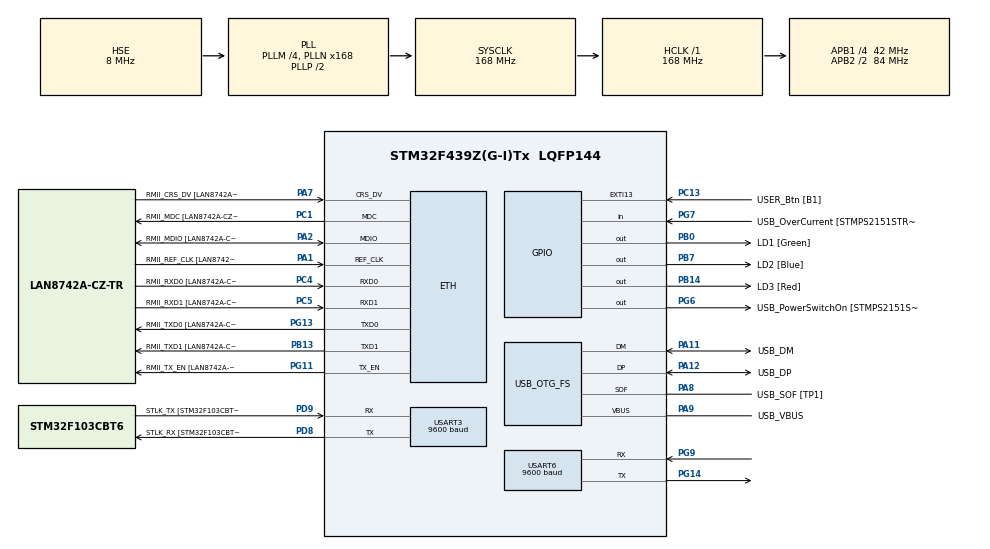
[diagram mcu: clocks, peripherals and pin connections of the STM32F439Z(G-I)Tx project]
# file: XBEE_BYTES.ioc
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ETH.MediaInterface=HAL_ETH_RMII_MODE
ETH.PHY_Name=LAN8742A_PHY_ADDRESS
ETH.PHY_Value=0
ETH.PhyAddress=0
Mcu.Family=STM32F4
Mcu.Name=STM32F439Z(G-I)Tx
Mcu.Package=LQFP144
NVIC.PriorityGroup=NVIC_PRIORITYGROUP_4
NVIC.USART3_IRQn=true\:0\:0\:false\:false\:true\:true\:true\:true
NVIC.USART6_IRQn=true\:0\:0\:false\:false\:true\:true\:true\:true
PA1.GPIO_Label=RMII_REF_CLK [LAN8742A-CZ-TR_REFCLK0]
PA1.Mode=RMII
PA1.Signal=ETH_REF_CLK
PA10.GPIO_Label=USB_ID
PA10.Signal=USB_OTG_FS_ID
PA11.GPIO_Label=USB_DM
PA11.Mode=Device_Only
PA11.Signal=USB_OTG_FS_DM
PA12.GPIO_Label=USB_DP
PA12.Mode=Device_Only
PA12.Signal=USB_OTG_FS_DP
PA13.GPIO_Label=TMS
PA13.Mode=Serial_Wire
PA13.Signal=SYS_JTMS-SWDIO
PA14.GPIO_Label=TCK
PA14.Mode=Serial_Wire
PA14.Signal=SYS_JTCK-SWCLK
PA2.GPIO_Label=RMII_MDIO [LAN8742A-CZ-TR_MDIO]
PA2.Mode=RMII
PA2.Signal=ETH_MDIO
PA7.GPIO_Label=RMII_CRS_DV [LAN8742A-CZ-TR_CRS_DV]
PA7.Mode=RMII
PA7.Signal=ETH_CRS_DV
PA8.GPIO_Label=USB_SOF [TP1]
PA8.Mode=Activate_SOF_FS
PA8.Signal=USB_OTG_FS_SOF
PA9.GPIO_Label=USB_VBUS
PA9.Mode=Activate_VBUS
PA9.Signal=USB_OTG_FS_VBUS
PB0.GPIO_Label=LD1 [Green]
PB0.Signal=GPIO_Output
PB13.GPIO_Label=RMII_TXD1 [LAN8742A-CZ-TR_TXD1]
PB13.Mode=RMII
PB13.Signal=ETH_TXD1
PB14.GPIO_Label=LD3 [Red]
PB14.Signal=GPIO_Output
PB7.GPIO_Label=LD2 [Blue]
PB7.Signal=GPIO_Output
PC1.GPIO_Label=RMII_MDC [LAN8742A-CZ-TR_MDC]
PC1.Mode=RMII
PC1.Signal=ETH_MDC
PC13.GPIO_Label=USER_Btn [B1]
PC13.Signal=GPXTI13
PC14/OSC32_IN.Mode=LSE-External-Oscillator
PC14/OSC32_IN.Signal=RCC_OSC32_IN
PC15/OSC32_OUT.Mode=LSE-External-Oscillator
PC15/OSC32_OUT.Signal=RCC_OSC32_OUT
PC4.GPIO_Label=RMII_RXD0 [LAN8742A-CZ-TR_RXD0]
PC4.Mode=RMII
PC4.Signal=ETH_RXD0
PC5.GPIO_Label=RMII_RXD1 [LAN8742A-CZ-TR_RXD1]
PC5.Mode=RMII
PC5.Signal=ETH_RXD1
PD8.GPIO_Label=STLK_RX [STM32F103CBT6_PA3]
PD8.Mode=Asynchronous
PD8.Signal=USART3_TX
PD9.GPIO_Label=STLK_TX [STM32F103CBT6_PA2]
PD9.Mode=Asynchronous
PD9.Signal=USART3_RX
PG11.GPIO_Label=RMII_TX_EN [LAN8742A-CZ-TR_TXEN]
PG11.Mode=RMII
PG11.Signal=ETH_TX_EN
PG13.GPIO_Label=RMII_TXD0 [LAN8742A-CZ-TR_TXD0]
PG13.Mode=RMII
PG13.Signal=ETH_TXD0
PG14.Mode=Asynchronous
PG14.Signal=USART6_TX
PG6.GPIO_Label=USB_PowerSwitchOn [STMPS2151STR_EN]
PG6.Signal=GPIO_Output
PG7.GPIO_Label=USB_OverCurrent [STMPS2151STR_FAULT]
PG7.Signal=GPIO_Input
PG9.Mode=Asynchronous
PG9.Signal=USART6_RX
PH0/OSC_IN.GPIO_Label=MCO [STM32F103CBT6_PA8]
PH0/OSC_IN.Mode=HSE-External-Clock-Source
PH0/OSC_IN.Signal=RCC_OSC_IN
PH1/OSC_OUT.Mode=HSE-External-Clock-Source
PH1/OSC_OUT.Signal=RCC_OSC_OUT
ProjectManager.HeapSize=0x200
ProjectManager.StackSize=0x400
ProjectManager.TargetToolchain=STM32CubeIDE
RCC.48MHZClocksFreq_Value=48000000
RCC.AHBFreq_Value=168000000
RCC.APB1CLKDivider=RCC_HCLK_DIV4
RCC.APB1Freq_Value=42000000
RCC.APB1TimFreq_Value=84000000
RCC.APB2CLKDivider=RCC_HCLK_DIV2
RCC.APB2Freq_Value=84000000
RCC.APB2TimCLKDivider=2
RCC.APB2TimFreq_Value=168000000
RCC.CortexFreq_Value=168000000
RCC.HCLKFreq_Value=168000000
RCC.HSE_VALUE=8000000
RCC.HSI_VALUE=16000000
RCC.PLLM=4
RCC.PLLMUL=RCC_PLL_MUL9
RCC.PLLN=168
RCC.PLLQ=7
RCC.PRESCALERUSB=RCC_USBCLKSOURCE_PLL_DIV1_5
RCC.RCC_RTC_Clock_Source=RCC_RTCCLKSOURCE_LSE
RCC.RCC_RTC_Clock_SourceVirtual=RCC_RTCCLKSOURCE_LSE
RCC.SYSCLKFreq_VALUE=168000000
RCC.SYSCLKSource=RCC_SYSCLKSOURCE_PLLCLK
RCC.SYSCLKSourceVirtual=RCC_SYSCLKSOURCE_PLLCLK
RCC.USBFreq_Value=48000000
RCC.VCOOutputFreq_Value=336000000
RTC.Date=4
RTC.Month=RTC_MONTH_MARCH
RTC.WeekDay=RTC_WEEKDAY_SATURDAY
RTC.Year=23
USART3.BaudRate=9600
USART3.VirtualMode=VM_ASYNC
USART6.BaudRate=9600
USART6.VirtualMode=VM_ASYNC
USB_OTG_FS.VirtualMode=Device_Only
VP_RTC_VS_RTC_Activate.Mode=RTC_Enabled
VP_RTC_VS_RTC_Calendar.Mode=RTC_Calendar
board=NUCLEO-F439ZI

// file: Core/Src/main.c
/* USER CODE BEGIN Header */
/**
  ******************************************************************************
  * @file           : main.c
  * @brief          : Main program body
  ******************************************************************************
  * @attention
  *
  * Copyright (c) 2023 STMicroelectronics.
  * All rights reserved.
  *
  * This software is licensed under terms that can be found in the LICENSE file
  * in the root directory of this software component.
  * If no LICENSE file comes with this software, it is provided AS-IS.
  *
  ******************************************************************************
  */
/* USER CODE END Header */
#include "main.h"
#include "string.h"

/* USER CODE BEGIN Includes */
#include <string.h>
#include <stdio.h>
#include <stdint.h>
#include <stdlib.h>
/* USER CODE END Includes */

ETH_TxPacketConfig TxConfig;
ETH_DMADescTypeDef  DMARxDscrTab[ETH_RX_DESC_CNT]; /* Ethernet Rx DMA Descriptors */
ETH_DMADescTypeDef  DMATxDscrTab[ETH_TX_DESC_CNT]; /* Ethernet Tx DMA Descriptors */

ETH_HandleTypeDef heth;

RTC_HandleTypeDef hrtc;

UART_HandleTypeDef huart3;
UART_HandleTypeDef huart6;

PCD_HandleTypeDef hpcd_USB_OTG_FS;

/* USER CODE BEGIN PV */

typedef enum { false, true } bool;
bool readyToSend = true;
RTC_TimeTypeDef sTime;
RTC_DateTypeDef sDate;
/* USER CODE END PV */

void SystemClock_Config(void);
static void MX_GPIO_Init(void);
static void MX_ETH_Init(void);
static void MX_USART3_UART_Init(void);
static void MX_USB_OTG_FS_PCD_Init(void);
static void MX_USART6_UART_Init(void);
static void MX_RTC_Init(void);
/* USER CODE BEGIN PFP */

static void setRTCTime(char* inputTime);
void HAL_UART_TxCpltCallback(UART_HandleTypeDef *huart);

/* USER CODE END PFP */

int main(void)
{
  /* USER CODE BEGIN 1 */
	char time[14];
	bool timeset = false;
	char currentTime[9];

  /* USER CODE END 1 */

  /* MCU Configuration--------------------------------------------------------*/

  /* Reset of all peripherals, Initializes the Flash interface and the Systick. */
  HAL_Init();

  /* Configure the system clock */
  SystemClock_Config();

  /* Initialize all configured peripherals */
  MX_GPIO_Init();
  MX_ETH_Init();
  MX_USART3_UART_Init();
  MX_USB_OTG_FS_PCD_Init();
  MX_USART6_UART_Init();
  MX_RTC_Init();
  /* USER CODE BEGIN 2 */
  /*while(!timeset){
	  if (HAL_UART_Receive(&huart3, (uint8_t *) currentTime, sizeof(currentTime), 1000) == HAL_OK){
		  if (currentTime[8]=='*'){
			  //Time Correctly recorded
			  currentTime[8]='\0';
			  setRTCTime(currentTime);
			  HAL_UART_Transmit(&huart6, (uint8_t *)"set\n", sizeof((uint8_t *)"set"), 100);
			  timeset = true;
			  break;
		  }

	  }
  }*/

  /* USER CODE END 2 */

  /* Infinite loop */
  /* USER CODE BEGIN WHILE */

  float send_data[] = {0,0,0,0,0,0};

  uint8_t start_msg[] = "START";
  if(readyToSend){
      HAL_UART_Transmit_IT(&huart6, (uint8_t*)(start_msg), 5);
      readyToSend = false;
  }
  //HAL_UART_Transmit(&huart3, (uint8_t*)(start_msg), 5, 100);

  int counter = 0;
  int timeline = 0;
  while (1)
  {
    /* USER CODE END WHILE */

    /* USER CODE BEGIN 3 */
	  for(int i = 3; i<(sizeof(send_data)/sizeof(float)); i++){
		  send_data[i] = counter+i-3;
	  }

	  HAL_RTC_GetTime(&hrtc, &sTime, RTC_FORMAT_BIN);
	  HAL_RTC_GetDate(&hrtc, &sDate, RTC_FORMAT_BIN);
	  send_data[2] = (float)(sTime.Seconds);
	  send_data[1] = (float)(sTime.Minutes);
	  send_data[0] = (float)(sTime.Hours);

	  //sprintf(time, "Time:%02d:%02d:%02d\n", sTime.Hours, sTime.Minutes, sTime.Seconds);

	  if(readyToSend){
		 HAL_UART_Transmit_IT(&huart6, (uint8_t*)(send_data), 24);
		 readyToSend = false;
	  } else {
		  HAL_GPIO_TogglePin(GPIOB, GPIO_PIN_0);
	  }
    //HAL_UART_Transmit(&huart3, (uint8_t*)(send_data), 24, 100);

	if (counter >= 100){
		counter = 0;
	}
	counter = counter+1;
	timeline = timeline+1;
	HAL_GPIO_TogglePin(GPIOB, GPIO_PIN_7);
	HAL_Delay(1000);
  }
  /* USER CODE END 3 */
}

void SystemClock_Config(void)
{
  RCC_OscInitTypeDef RCC_OscInitStruct = {0};
  RCC_ClkInitTypeDef RCC_ClkInitStruct = {0};

  /** Configure the main internal regulator output voltage
  */
  __HAL_RCC_PWR_CLK_ENABLE();
  __HAL_PWR_VOLTAGESCALING_CONFIG(PWR_REGULATOR_VOLTAGE_SCALE1);

  /** Initializes the RCC Oscillators according to the specified parameters
  * in the RCC_OscInitTypeDef structure.
  */
  RCC_OscInitStruct.OscillatorType = RCC_OSCILLATORTYPE_HSE|RCC_OSCILLATORTYPE_LSE;
  RCC_OscInitStruct.HSEState = RCC_HSE_BYPASS;
  RCC_OscInitStruct.LSEState = RCC_LSE_ON;
  RCC_OscInitStruct.PLL.PLLState = RCC_PLL_ON;
  RCC_OscInitStruct.PLL.PLLSource = RCC_PLLSOURCE_HSE;
  RCC_OscInitStruct.PLL.PLLM = 4;
  RCC_OscInitStruct.PLL.PLLN = 168;
  RCC_OscInitStruct.PLL.PLLP = RCC_PLLP_DIV2;
  RCC_OscInitStruct.PLL.PLLQ = 7;
  if (HAL_RCC_OscConfig(&RCC_OscInitStruct) != HAL_OK)
  {
    Error_Handler();
  }

  /** Initializes the CPU, AHB and APB buses clocks
  */
  RCC_ClkInitStruct.ClockType = RCC_CLOCKTYPE_HCLK|RCC_CLOCKTYPE_SYSCLK
                              |RCC_CLOCKTYPE_PCLK1|RCC_CLOCKTYPE_PCLK2;
  RCC_ClkInitStruct.SYSCLKSource = RCC_SYSCLKSOURCE_PLLCLK;
  RCC_ClkInitStruct.AHBCLKDivider = RCC_SYSCLK_DIV1;
  RCC_ClkInitStruct.APB1CLKDivider = RCC_HCLK_DIV4;
  RCC_ClkInitStruct.APB2CLKDivider = RCC_HCLK_DIV2;

  if (HAL_RCC_ClockConfig(&RCC_ClkInitStruct, FLASH_LATENCY_5) != HAL_OK)
  {
    Error_Handler();
  }
}

static void MX_ETH_Init(void)
{

   static uint8_t MACAddr[6];

  heth.Instance = ETH;
  MACAddr[0] = 0x00;
  MACAddr[1] = 0x80;
  MACAddr[2] = 0xE1;
  MACAddr[3] = 0x00;
  MACAddr[4] = 0x00;
  MACAddr[5] = 0x00;
  heth.Init.MACAddr = &MACAddr[0];
  heth.Init.MediaInterface = HAL_ETH_RMII_MODE;
  heth.Init.TxDesc = DMATxDscrTab;
  heth.Init.RxDesc = DMARxDscrTab;
  heth.Init.RxBuffLen = 1524;

  if (HAL_ETH_Init(&heth) != HAL_OK)
  {
    Error_Handler();
  }

  memset(&TxConfig, 0 , sizeof(ETH_TxPacketConfig));
  TxConfig.Attributes = ETH_TX_PACKETS_FEATURES_CSUM | ETH_TX_PACKETS_FEATURES_CRCPAD;
  TxConfig.ChecksumCtrl = ETH_CHECKSUM_IPHDR_PAYLOAD_INSERT_PHDR_CALC;
  TxConfig.CRCPadCtrl = ETH_CRC_PAD_INSERT;

}

static void MX_RTC_Init(void)
{

  RTC_TimeTypeDef sTime = {0};
  RTC_DateTypeDef sDate = {0};

  /** Initialize RTC Only
  */
  hrtc.Instance = RTC;
  hrtc.Init.HourFormat = RTC_HOURFORMAT_24;
  hrtc.Init.AsynchPrediv = 127;
  hrtc.Init.SynchPrediv = 255;
  hrtc.Init.OutPut = RTC_OUTPUT_DISABLE;
  hrtc.Init.OutPutPolarity = RTC_OUTPUT_POLARITY_HIGH;
  hrtc.Init.OutPutType = RTC_OUTPUT_TYPE_OPENDRAIN;
  if (HAL_RTC_Init(&hrtc) != HAL_OK)
  {
    Error_Handler();
  }

  /** Initialize RTC and set the Time and Date
  */
  sTime.Hours = 0x0;
  sTime.Minutes = 0x0;
  sTime.Seconds = 0x0;
  sTime.DayLightSaving = RTC_DAYLIGHTSAVING_NONE;
  sTime.StoreOperation = RTC_STOREOPERATION_RESET;
  if (HAL_RTC_SetTime(&hrtc, &sTime, RTC_FORMAT_BCD) != HAL_OK)
  {
    Error_Handler();
  }
  sDate.WeekDay = RTC_WEEKDAY_SATURDAY;
  sDate.Month = RTC_MONTH_MARCH;
  sDate.Date = 0x4;
  sDate.Year = 0x23;

  if (HAL_RTC_SetDate(&hrtc, &sDate, RTC_FORMAT_BCD) != HAL_OK)
  {
    Error_Handler();
  }

}

static void MX_USART3_UART_Init(void)
{

  huart3.Instance = USART3;
  huart3.Init.BaudRate = 9600;
  huart3.Init.WordLength = UART_WORDLENGTH_8B;
  huart3.Init.StopBits = UART_STOPBITS_1;
  huart3.Init.Parity = UART_PARITY_NONE;
  huart3.Init.Mode = UART_MODE_TX_RX;
  huart3.Init.HwFlowCtl = UART_HWCONTROL_NONE;
  huart3.Init.OverSampling = UART_OVERSAMPLING_16;
  if (HAL_UART_Init(&huart3) != HAL_OK)
  {
    Error_Handler();
  }

}

static void MX_USART6_UART_Init(void)
{

  huart6.Instance = USART6;
  huart6.Init.BaudRate = 9600;
  huart6.Init.WordLength = UART_WORDLENGTH_8B;
  huart6.Init.StopBits = UART_STOPBITS_1;
  huart6.Init.Parity = UART_PARITY_NONE;
  huart6.Init.Mode = UART_MODE_TX_RX;
  huart6.Init.HwFlowCtl = UART_HWCONTROL_NONE;
  huart6.Init.OverSampling = UART_OVERSAMPLING_16;
  if (HAL_UART_Init(&huart6) != HAL_OK)
  {
    Error_Handler();
  }

}

static void MX_USB_OTG_FS_PCD_Init(void)
{

  hpcd_USB_OTG_FS.Instance = USB_OTG_FS;
  hpcd_USB_OTG_FS.Init.dev_endpoints = 4;
  hpcd_USB_OTG_FS.Init.speed = PCD_SPEED_FULL;
  hpcd_USB_OTG_FS.Init.dma_enable = DISABLE;
  hpcd_USB_OTG_FS.Init.phy_itface = PCD_PHY_EMBEDDED;
  hpcd_USB_OTG_FS.Init.Sof_enable = ENABLE;
  hpcd_USB_OTG_FS.Init.low_power_enable = DISABLE;
  hpcd_USB_OTG_FS.Init.lpm_enable = DISABLE;
  hpcd_USB_OTG_FS.Init.vbus_sensing_enable = ENABLE;
  hpcd_USB_OTG_FS.Init.use_dedicated_ep1 = DISABLE;
  if (HAL_PCD_Init(&hpcd_USB_OTG_FS) != HAL_OK)
  {
    Error_Handler();
  }

}

static void MX_GPIO_Init(void)
{
  GPIO_InitTypeDef GPIO_InitStruct = {0};

  /* GPIO Ports Clock Enable */
  __HAL_RCC_GPIOC_CLK_ENABLE();
  __HAL_RCC_GPIOH_CLK_ENABLE();
  __HAL_RCC_GPIOA_CLK_ENABLE();
  __HAL_RCC_GPIOB_CLK_ENABLE();
  __HAL_RCC_GPIOD_CLK_ENABLE();
  __HAL_RCC_GPIOG_CLK_ENABLE();

  /*Configure GPIO pin Output Level */
  HAL_GPIO_WritePin(GPIOB, LD1_Pin|LD3_Pin|LD2_Pin, GPIO_PIN_RESET);

  /*Configure GPIO pin Output Level */
  HAL_GPIO_WritePin(USB_PowerSwitchOn_GPIO_Port, USB_PowerSwitchOn_Pin, GPIO_PIN_RESET);

  /*Configure GPIO pin : USER_Btn_Pin */
  GPIO_InitStruct.Pin = USER_Btn_Pin;
  GPIO_InitStruct.Mode = GPIO_MODE_IT_RISING;
  GPIO_InitStruct.Pull = GPIO_NOPULL;
  HAL_GPIO_Init(USER_Btn_GPIO_Port, &GPIO_InitStruct);

  /*Configure GPIO pins : LD1_Pin LD3_Pin LD2_Pin */
  GPIO_InitStruct.Pin = LD1_Pin|LD3_Pin|LD2_Pin;
  GPIO_InitStruct.Mode = GPIO_MODE_OUTPUT_PP;
  GPIO_InitStruct.Pull = GPIO_NOPULL;
  GPIO_InitStruct.Speed = GPIO_SPEED_FREQ_LOW;
  HAL_GPIO_Init(GPIOB, &GPIO_InitStruct);

  /*Configure GPIO pin : USB_PowerSwitchOn_Pin */
  GPIO_InitStruct.Pin = USB_PowerSwitchOn_Pin;
  GPIO_InitStruct.Mode = GPIO_MODE_OUTPUT_PP;
  GPIO_InitStruct.Pull = GPIO_NOPULL;
  GPIO_InitStruct.Speed = GPIO_SPEED_FREQ_LOW;
  HAL_GPIO_Init(USB_PowerSwitchOn_GPIO_Port, &GPIO_InitStruct);

  /*Configure GPIO pin : USB_OverCurrent_Pin */
  GPIO_InitStruct.Pin = USB_OverCurrent_Pin;
  GPIO_InitStruct.Mode = GPIO_MODE_INPUT;
  GPIO_InitStruct.Pull = GPIO_NOPULL;
  HAL_GPIO_Init(USB_OverCurrent_GPIO_Port, &GPIO_InitStruct);

}

/* USER CODE BEGIN 4 */

/**
 * @brief Set Initial RTC Values
 * @retval None
 */

static void setRTCTime(char* inputTime)
{
	char *delim = ":";
	char hours[] ="00";
	char minutes[]="00";
	char seconds[]="00";

	char *token = strtok(inputTime, delim);
	strcpy(hours, token);
	token = strtok(NULL, delim);
	strcpy(minutes, token);
	token = strtok(NULL, delim);
	strcpy(seconds, token);
	sTime.Hours = (uint8_t)atoi(hours);
	sTime.Minutes = (uint8_t)(uint8_t)atoi(minutes);
	sTime.Seconds = (uint8_t)(uint8_t)atoi(seconds);
	HAL_RTC_SetTime(&hrtc, &sTime, RTC_FORMAT_BIN);

}

void HAL_UART_TxCpltCallback(UART_HandleTypeDef *huart){
	readyToSend = true;
	HAL_GPIO_TogglePin(GPIOB, GPIO_PIN_14);
}

/* USER CODE END 4 */

void Error_Handler(void)
{
  __disable_irq();
  while (1)
  {
  }
}
